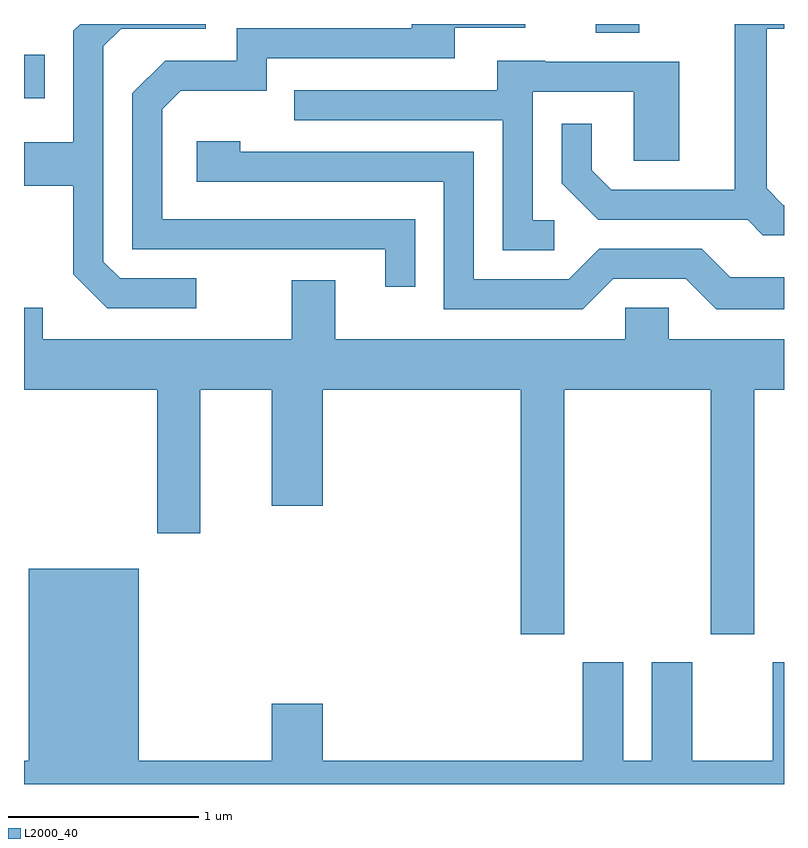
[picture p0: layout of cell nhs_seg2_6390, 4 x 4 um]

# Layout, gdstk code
import gdstk
lib = gdstk.Library(unit=1e-6, precision=1e-09)
def R(c, l, rs):  # rectangles x0, y0, x1, y1
    for r in rs: c.add(gdstk.rectangle(r[:2], r[2:], *l))
def P(c, l, *ps):  # polygons
    for p in ps: c.add(gdstk.Polygon(p, *l))
L2000_40 = (2000, 40)

nhs_seg2_6390 = lib.new_cell('nhs_seg2_6390')
R(nhs_seg2_6390, L2000_40, [(373.611,1045.411,373.719,1045.639), (376.621,1045.756,376.849,1045.802)])
P(nhs_seg2_6390, L2000_40, [(374.518,1044.464),(374.117,1044.464),(374.029,1044.552),(374.029,1045.684),(374.122,1045.776),(374.568,1045.776),(374.568,1045.802),(373.906,1045.802),(373.871,1045.767),(373.871,1045.179),(373.611,1045.179),(373.611,1044.951),(373.871,1044.951),(373.871,1044.484),(374.049,1044.306),(374.518,1044.306)],
  [(377.611,1044.849),(377.607,1044.849),(377.519,1044.937),(377.519,1045.776),(377.611,1045.776),(377.611,1045.802),(377.351,1045.802),(377.351,1044.929),(376.702,1044.929),(376.599,1045.032),(376.599,1045.277),(376.441,1045.277),(376.441,1044.964),(376.634,1044.771),(377.419,1044.771),(377.499,1044.691),(377.611,1044.691)],
  [(375.669,1044.774),(374.339,1044.774),(374.339,1045.353),(374.437,1045.451),(374.889,1045.451),(374.889,1045.621),(375.879,1045.621),(375.879,1045.781),(376.248,1045.781),(376.248,1045.802),(375.651,1045.802),(375.651,1045.779),(374.731,1045.779),(374.731,1045.609),(374.354,1045.609),(374.181,1045.437),(374.181,1044.616),(375.511,1044.616),(375.511,1044.418),(375.669,1044.418)],
  [(376.403,1044.769),(376.289,1044.769),(376.289,1045.446),(376.821,1045.446),(376.821,1045.081),(377.059,1045.081),(377.059,1045.604),(376.355,1045.604),(376.355,1045.609),(376.101,1045.609),(376.101,1045.454),(375.033,1045.454),(375.033,1045.296),(376.131,1045.296),(376.131,1044.611),(376.403,1044.611)],
  [(376.712,1044.461),(377.094,1044.461),(377.254,1044.301),(377.611,1044.301),(377.611,1044.469),(377.327,1044.469),(377.177,1044.619),(376.639,1044.619),(376.479,1044.459),(375.979,1044.459),(375.979,1045.129),(374.749,1045.129),(374.749,1045.184),(374.521,1045.184),(374.521,1044.971),(375.821,1044.971),(375.821,1044.301),(376.552,1044.301)],
  [(376.454,1043.876),(377.226,1043.876),(377.226,1042.591),(377.454,1042.591),(377.454,1043.876),(377.611,1043.876),(377.611,1044.144),(377.004,1044.144),(377.004,1044.309),(376.776,1044.309),(376.776,1044.144),(375.249,1044.144),(375.249,1044.454),(375.021,1044.454),(375.021,1044.144),(373.709,1044.144),(373.709,1044.309),(373.611,1044.309),(373.611,1043.876),(374.311,1043.876),(374.311,1043.121),(374.539,1043.121),(374.539,1043.876),(374.916,1043.876),(374.916,1043.266),(375.184,1043.266),(375.184,1043.876),(376.226,1043.876),(376.226,1042.591),(376.454,1042.591)],
  [(377.611,1042.444),(377.551,1042.444),(377.551,1041.924),(377.129,1041.924),(377.129,1042.444),(376.916,1042.444),(376.916,1041.924),(376.764,1041.924),(376.764,1042.444),(376.551,1042.444),(376.551,1041.924),(375.184,1041.924),(375.184,1042.224),(374.916,1042.224),(374.916,1041.924),(374.214,1041.924),(374.214,1042.934),(373.636,1042.934),(373.636,1041.924),(373.611,1041.924),(373.611,1041.802),(377.611,1041.802)])

lib.write_gds('nhs_seg2_6390.gds')
